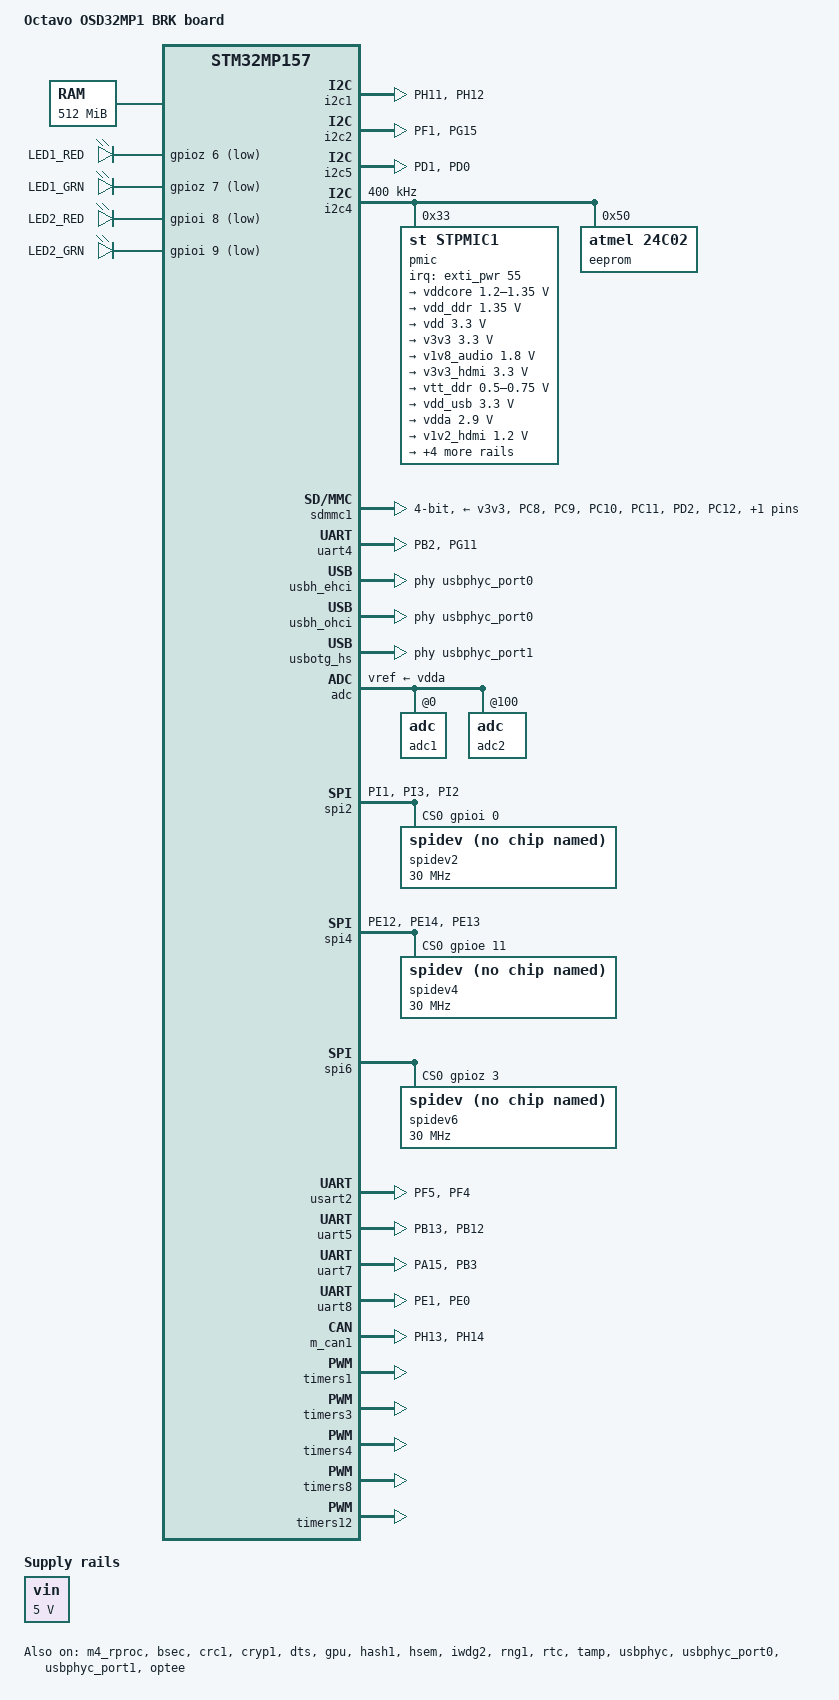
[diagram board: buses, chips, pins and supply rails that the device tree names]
/* SPDX-License-Identifier: (GPL-2.0+ OR BSD-3-Clause) */
/*
 * Copyright (C) Octavo Systems LLC 2020 - All Rights Reserved
 */

/* For more information on Device Tree configuration, please refer to
 * https://wiki.st.com/stm32mpu/wiki/Category:Device_tree_configuration
 */

/dts-v1/;
#include <dt-bindings/pinctrl/stm32-pinfunc.h>

#include "stm32mp157.dtsi"
#include "stm32mp15xc.dtsi"
#include "stm32mp15xxac-pinctrl.dtsi"
#include "stm32mp157-m4-srm.dtsi"
#include <dt-bindings/mfd/st,stpmic1.h>
#include <dt-bindings/rtc/rtc-stm32.h>

/ {
	model = "Octavo OSD32MP1 BRK board";
	compatible = "st,stm32mp157c-osd32mp1-brk", "st,stm32mp157";

	memory@c0000000 {
		device_type = "memory";
		reg = <0xc0000000 0x20000000>;
	};

	reserved-memory {
		#address-cells = <1>;
		#size-cells = <1>;
		ranges;

		mcuram2:mcuram2@10000000{
			compatible = "shared-dma-pool";
			reg = <0x10000000 0x40000>;
			no-map;
		};

		vdev0vring0:vdev0vring0@10040000{
			compatible = "shared-dma-pool";
			reg = <0x10040000 0x1000>;
			no-map;
		};

		vdev0vring1:vdev0vring1@10041000{
			compatible = "shared-dma-pool";
			reg = <0x10041000 0x1000>;
			no-map;
		};

		vdev0buffer:vdev0buffer@10042000{
			compatible = "shared-dma-pool";
			reg = <0x10042000 0x4000>;
			no-map;
		};

		mcuram:mcuram@30000000{
			compatible = "shared-dma-pool";
			reg = <0x30000000 0x40000>;
			no-map;
		};

		retram:retram@38000000{
			compatible = "shared-dma-pool";
			reg = <0x38000000 0x10000>;
			no-map;
		};

		gpu_reserved:gpu@da000000{
			reg = <0xda000000 0x4000000>;
			no-map;
		};

		optee_memory:optee@0xde000000{
			reg = <0xde000000 0x02000000>;
			no-map;
			status = "okay";
		};
	};

	led{
		compatible = "gpio-leds";

		red1{
			label = "LED1_RED";
			gpios = <&gpioz 6 GPIO_ACTIVE_LOW>;
			linux,default-trigger = "heartbeat";
			status = "okay";
			default-state = "off";
		};

		green1{
			label = "LED1_GRN";
			gpios = <&gpioz 7 GPIO_ACTIVE_LOW>;
			status = "okay";
			default-state = "on";
		};

		red2{
			label = "LED2_RED";
			gpios = <&gpioi 8 GPIO_ACTIVE_LOW>;
			status = "okay";
			default-state = "off";
		};

		green2{
			label = "LED2_GRN";
			gpios = <&gpioi 9 GPIO_ACTIVE_LOW>;
			default-state = "off";
		};
	};

	usb_phy_tuning:usb-phy-tuning{
		st,hs-dc-level = <2>;
		st,fs-rftime-tuning;
		st,hs-rftime-reduction;
		st,hs-current-trim = <15>;
		st,hs-impedance-trim = <1>;
		st,squelch-level = <3>;
		st,hs-rx-offset = <2>;
		st,no-lsfs-sc;
	};

	vin:vin{
		compatible = "regulator-fixed";
		regulator-name = "vin";
		regulator-min-microvolt = <5000000>;
		regulator-max-microvolt = <5000000>;
		regulator-always-on;
	};

	aliases{
		serial0 = &uart4;
		serial2 = &usart2;
		serial5 = &uart5;
		serial7 = &uart7;
		serial1 = &uart8;
	};

	chosen{
		stdout-path = "serial0:115200n8";
	};

	clocks {

#ifndef CONFIG_STM32MP1_TRUSTED
		clk_lsi: clk-lsi {
			clock-frequency = <32000>;
		};
		clk_hsi: clk-hsi {
			clock-frequency = <64000000>;
		};
		clk_csi: clk-csi {
			clock-frequency = <4000000>;
		};
		clk_lse: clk-lse {
			clock-frequency = <32768>;
		};
		clk_hse: clk-hse {
			clock-frequency = <24000000>;
		};
#endif	/*CONFIG_STM32MP1_TRUSTED*/
	};

}; /*root*/

&pinctrl {
	u-boot,dm-pre-reloc;

  i2c1_pins_mx: i2c1-0 {
		pins {
			pinmux = <STM32_PINMUX('H', 11, AF5)>, /* I2C1_SCL */
				 <STM32_PINMUX('H', 12, AF5)>; /* I2C1_SDA */
			bias-disable;
			drive-open-drain;
			slew-rate = <0>;
		};
	};

	i2c1_pins_sleep_mx: i2c1-1 {
		pins {
			pinmux = <STM32_PINMUX('H', 11, ANALOG)>, /* I2C1_SCL */
				 <STM32_PINMUX('H', 12, ANALOG)>; /* I2C1_SDA */
		};
	};

  i2c2_pins_mx: i2c2-0 {
    pins {
      pinmux = <STM32_PINMUX('F', 1, AF4)>, /* I2C2_SCL */
         <STM32_PINMUX('G', 15, AF4)>; /* I2C2_SDA */
      bias-disable;
      drive-open-drain;
      slew-rate = <0>;
    };
  };

  i2c2_pins_sleep_mx: i2c2-1 {
    pins {
      pinmux = <STM32_PINMUX('F', 1, ANALOG)>, /* I2C2_SCL */
         <STM32_PINMUX('G', 15, ANALOG)>; /* I2C2_SDA */
    };
  };

  i2c5_pins_mx: i2c5-0 {
    pins {
      pinmux = <STM32_PINMUX('D', 1, AF4)>, /* I2C5_SCL */
         <STM32_PINMUX('D', 0, AF4)>; /* I2C5_SDA */
      bias-disable;
      drive-open-drain;
      slew-rate = <0>;
    };
  };

  i2c5_pins_sleep_mx: i2c5-1 {
    pins {
      pinmux = <STM32_PINMUX('D', 1, ANALOG)>, /* I2C5_SCL */
         <STM32_PINMUX('D', 0, ANALOG)>; /* I2C5_SDA */
    };
  };

  spi2_pins_mx: spi2-0 {
    pins1 {
      pinmux = <STM32_PINMUX('I', 1, AF5)>, /* SPI2_SCK */
         <STM32_PINMUX('I', 3, AF5)>; /* SPI2_MOSI */
      bias-disable;
      drive-push-pull;
      slew-rate = <1>;
    };

    pins2 {
      pinmux = <STM32_PINMUX('I', 2, AF5)>; /* SPI2_MISO */
      bias-disable;
    };
  };

  spi2_sleep_pins_mx: spi2-sleep-0 {
    pins {
      pinmux = <STM32_PINMUX('I', 1, ANALOG)>, /* SPI2_SCK */
         <STM32_PINMUX('I', 2, ANALOG)>, /* SPI2_MISO */
         <STM32_PINMUX('I', 3, ANALOG)>; /* SPI2_MOSI */
    };
  };

  spi4_pins_mx: spi4-0 {
    pins1 {
      pinmux = <STM32_PINMUX('E', 12, AF5)>, /* SPI4_SCK */
         <STM32_PINMUX('E', 14, AF5)>; /* SPI4_MOSI */
      bias-disable;
      drive-push-pull;
      slew-rate = <1>;
    };

    pins2 {
      pinmux = <STM32_PINMUX('E', 13, AF5)>; /* SPI4_MISO */
      bias-disable;
    };
  };

  spi4_sleep_pins_mx: spi4-sleep-0 {
    pins {
      pinmux = <STM32_PINMUX('E', 12, ANALOG)>, /* SPI2_SCK */
         <STM32_PINMUX('E', 13, ANALOG)>, /* SPI2_MISO */
         <STM32_PINMUX('E', 14, ANALOG)>; /* SPI2_MOSI */
    };
  };

  usart2_pins_mx: usart2-0 {
      pins1 {
        pinmux = <STM32_PINMUX('F', 5, AF7)>; /* USART2_TX */
        bias-disable;
        drive-push-pull;
        slew-rate = <0>;
      };
      pins2 {
        pinmux = <STM32_PINMUX('F', 4, AF7)>; /* USART2_RX */
        bias-disable;
      };
    };

    usart2_idle_pins_mx: usart2-idle-0 {
      pins1 {
        pinmux = <STM32_PINMUX('F', 5, ANALOG)>; /* USART2_TX */
      };
      pins2 {
        pinmux = <STM32_PINMUX('F', 4, AF7)>; /* USART2_RX */
        bias-disable;
      };
    };

    usart2_sleep_pins_mx: usart2-sleep-0 {
      pins {
        pinmux = <STM32_PINMUX('F', 5, ANALOG)>, /* USART2_TX */
           <STM32_PINMUX('F', 4, ANALOG)>; /* USART2_RX */
      };
    };

    uart5_pins_mx: uart5-0 {
      pins1 {
        pinmux = <STM32_PINMUX('B', 13, AF14)>; /* USART5_TX */
        bias-disable;
        drive-push-pull;
        slew-rate = <0>;
      };
      pins2 {
        pinmux = <STM32_PINMUX('B', 12, AF14)>; /* USART5_RX */
        bias-disable;
      };
    };

    uart5_idle_pins_mx: uart5-idle-0 {
      pins1 {
        pinmux = <STM32_PINMUX('B', 13, ANALOG)>; /* USART5_TX */
      };
      pins2 {
        pinmux = <STM32_PINMUX('B', 12, AF14)>; /* USART5_RX */
        bias-disable;
      };
    };

    uart5_sleep_pins_mx: uart5-sleep-0 {
      pins {
        pinmux = <STM32_PINMUX('B', 13, ANALOG)>, /* USART5_TX */
           <STM32_PINMUX('B', 12, ANALOG)>; /* USART5_RX */
      };
    };

    uart7_pins_mx: uart7-0 {
      pins1 {
        pinmux = <STM32_PINMUX('A', 15, AF13)>; /* USART7_TX */
        bias-disable;
        drive-push-pull;
        slew-rate = <0>;
      };
      pins2 {
        pinmux = <STM32_PINMUX('B', 3, AF13)>; /* USART7_RX */
        bias-disable;
      };
    };

  uart7_idle_pins_mx: uart7-idle-0 {
    pins1 {
      pinmux = <STM32_PINMUX('A', 15, ANALOG)>; /* USART7_TX */
    };
    pins2 {
      pinmux = <STM32_PINMUX('B', 3, AF13)>; /* USART7_RX */
      bias-disable;
    };
  };

  uart7_sleep_pins_mx: uart7-sleep-0 {
    pins {
      pinmux = <STM32_PINMUX('A', 15, ANALOG)>, /* USART7_TX */
        <STM32_PINMUX('B', 3, ANALOG)>; /* USART7_RX */
    };
  };

  uart8_pins_mx: uart8-0 {
    pins1 {
      pinmux = <STM32_PINMUX('E', 1, AF8)>; /* USART8_TX */
      bias-disable;
      drive-push-pull;
      slew-rate = <0>;
    };
    pins2 {
      pinmux = <STM32_PINMUX('E', 0, AF8)>; /* USART8_RX */
      bias-disable;
    };
  };

  uart8_idle_pins_mx: uart8-idle-0 {
    pins1 {
      pinmux = <STM32_PINMUX('E', 1, ANALOG)>; /* USART8_TX */
    };
    pins2 {
      pinmux = <STM32_PINMUX('E', 0, AF8)>; /* USART8_RX */
      bias-disable;
    };
  };

  uart8_sleep_pins_mx: uart8-sleep-0 {
    pins {
      pinmux = <STM32_PINMUX('E', 1, ANALOG)>, /* USART8_TX */
        <STM32_PINMUX('E', 0, ANALOG)>; /* USART8_RX */
    };
  };

  m_can1_pins_mx: m-can1-0 {
    pins1 {
      pinmux = <STM32_PINMUX('H', 13, AF9)>; /* CAN1_TX */
      slew-rate = <0>;
      drive-push-pull;
      bias-disable;
    };
    pins2 {
      pinmux = <STM32_PINMUX('H', 14, AF9)>; /* CAN1_RX */
      bias-disable;
    };
  };

  m_can1_sleep_pins_mx: m_can1-sleep@0 {
    pins {
      pinmux = <STM32_PINMUX('H', 13, ANALOG)>, /* CAN1_TX */
        <STM32_PINMUX('H', 14, ANALOG)>; /* CAN1_RX */
    };
  };

  pwm1_pins_mx: pwm1-0 {
    pins {
      pinmux = <STM32_PINMUX('A', 9, AF1)>; /* TIM1_CH2 */
      bias-pull-down;
      drive-push-pull;
      slew-rate = <0>;
    };
  };

  pwm1_sleep_pins_mx: pwm1-sleep-0 {
    pins {
      pinmux = <STM32_PINMUX('A', 9, ANALOG)>; /* TIM1_CH1 */
    };
  };

  pwm3_pins_mx: pwm3-0 {
    pins {
      pinmux = <STM32_PINMUX('B', 5, AF2)>; /* TIM3_CH2 */
      bias-pull-down;
      drive-push-pull;
      slew-rate = <0>;
    };
  };

  pwm3_sleep_pins_mx: pwm3-sleep-0 {
    pins {
      pinmux = <STM32_PINMUX('B', 5, ANALOG)>; /* TIM3_CH2 */
    };
  };

  pwm4_pins_mx: pwm4-0 {
    pins {
      pinmux = <STM32_PINMUX('B', 7, AF2)>; /* TIM4_CH2 */
      bias-pull-down;
      drive-push-pull;
      slew-rate = <0>;
    };
  };

  pwm4_sleep_pins_mx: pwm4-sleep-0 {
    pins {
      pinmux = <STM32_PINMUX('B', 7, ANALOG)>; /* TIM4_CH2 */
    };
  };

  pwm8_pins_mx: pwm8-0 {
    pins {
      pinmux = <STM32_PINMUX('I', 6, AF3)>; /* TIM8_CH2 */
      bias-pull-down;
      drive-push-pull;
      slew-rate = <0>;
    };
  };

  pwm8_sleep_pins_mx: pwm8-sleep-0 {
    pins {
      pinmux = <STM32_PINMUX('I', 6, ANALOG)>; /* TIM8_CH2 */
    };
  };


  pwm12_pins_mx: pwm12-0 {
    pins {
      pinmux = <STM32_PINMUX('H', 9, AF2)>; /* TIM12_CH2 */
      bias-pull-down;
      drive-push-pull;
      slew-rate = <0>;
    };
  };

  pwm12_sleep_pins_mx: pwm12-sleep-0 {
    pins {
      pinmux = <STM32_PINMUX('H', 9, ANALOG)>; /* TIM12_CH2 */
    };
  };

	sdmmc1_pins_mx: sdmmc1_mx-0 {
		u-boot,dm-pre-reloc;
		pins1 {
			u-boot,dm-pre-reloc;
			pinmux = <STM32_PINMUX('C', 8, AF12)>, /* SDMMC1_D0 */
					 <STM32_PINMUX('C', 9, AF12)>, /* SDMMC1_D1 */
					 <STM32_PINMUX('C', 10, AF12)>, /* SDMMC1_D2 */
					 <STM32_PINMUX('C', 11, AF12)>, /* SDMMC1_D3 */
					 <STM32_PINMUX('D', 2, AF12)>; /* SDMMC1_CMD */
			bias-disable;
			drive-push-pull;
			slew-rate = <1>;
		};
		pins2 {
			u-boot,dm-pre-reloc;
			pinmux = <STM32_PINMUX('C', 12, AF12)>; /* SDMMC1_CK */
			bias-disable;
			drive-push-pull;
			slew-rate = <2>;
		};
	};

	sdmmc1_opendrain_pins_mx: sdmmc1_opendrain_mx-0 {
		u-boot,dm-pre-reloc;
		pins1 {
			u-boot,dm-pre-reloc;
			pinmux = <STM32_PINMUX('C', 8, AF12)>, /* SDMMC1_D0 */
					 <STM32_PINMUX('C', 9, AF12)>, /* SDMMC1_D1 */
					 <STM32_PINMUX('C', 10, AF12)>, /* SDMMC1_D2 */
					 <STM32_PINMUX('C', 11, AF12)>; /* SDMMC1_D3 */
			bias-disable;
			drive-push-pull;
			slew-rate = <1>;
		};
		pins2 {
			u-boot,dm-pre-reloc;
			pinmux = <STM32_PINMUX('C', 12, AF12)>; /* SDMMC1_CK */
			bias-disable;
			drive-push-pull;
			slew-rate = <2>;
		};
		pins3 {
			u-boot,dm-pre-reloc;
			pinmux = <STM32_PINMUX('D', 2, AF12)>; /* SDMMC1_CMD */
			bias-disable;
			drive-open-drain;
			slew-rate = <1>;
		};
	};

	sdmmc1_sleep_pins_mx: sdmmc1_sleep_mx-0 {
		u-boot,dm-pre-reloc;
		pins {
			u-boot,dm-pre-reloc;
			pinmux = <STM32_PINMUX('C', 8, ANALOG)>, /* SDMMC1_D0 */
					 <STM32_PINMUX('C', 9, ANALOG)>, /* SDMMC1_D1 */
					 <STM32_PINMUX('C', 10, ANALOG)>, /* SDMMC1_D2 */
					 <STM32_PINMUX('C', 11, ANALOG)>, /* SDMMC1_D3 */
					 <STM32_PINMUX('C', 12, ANALOG)>, /* SDMMC1_CK */
					 <STM32_PINMUX('D', 2, ANALOG)>; /* SDMMC1_CMD */
		};
	};

	uart4_pins_mx: uart4_mx-0 {
		u-boot,dm-pre-reloc;
		pins1 {
			u-boot,dm-pre-reloc;
			pinmux = <STM32_PINMUX('B', 2, AF8)>; /* UART4_RX */
      /* pull-up on rx to avoid floating level */
      bias-pull-up;
		};
		pins2 {
			u-boot,dm-pre-reloc;
			pinmux = <STM32_PINMUX('G', 11, AF6)>; /* UART4_TX */
			bias-disable;
			drive-push-pull;
			slew-rate = <0>;
		};
	};

	uart4_sleep_pins_mx: uart4_sleep_mx-0 {
		u-boot,dm-pre-reloc;
		pins {
			u-boot,dm-pre-reloc;
			pinmux = <STM32_PINMUX('B', 2, ANALOG)>, /* UART4_RX */
					 <STM32_PINMUX('G', 11, ANALOG)>; /* UART4_TX */
		};
	};
};

&pinctrl_z {
	u-boot,dm-pre-reloc;

	i2c4_pins_z_mx: i2c4_mx-0 {
		u-boot,dm-pre-reloc;
		pins {
			u-boot,dm-pre-reloc;
			pinmux = <STM32_PINMUX('Z', 4, AF6)>, /* I2C4_SCL */
					 <STM32_PINMUX('Z', 5, AF6)>; /* I2C4_SDA */
			bias-disable;
			drive-open-drain;
			slew-rate = <0>;
		};
	};

	i2c4_sleep_pins_z_mx: i2c4_sleep_mx-0 {
		u-boot,dm-pre-reloc;
		pins {
			u-boot,dm-pre-reloc;
			pinmux = <STM32_PINMUX('Z', 4, ANALOG)>, /* I2C4_SCL */
					 <STM32_PINMUX('Z', 5, ANALOG)>; /* I2C4_SDA */
		};
	};

  spi6_pins_mx: spi6-0 {
    pins1 {
      pinmux = <STM32_PINMUX('Z', 0, AF8)>, /* SPI6_SCK */
         <STM32_PINMUX('Z', 2, AF8)>; /* SPI6_MOSI */
      bias-disable;
      drive-push-pull;
      slew-rate = <1>;
    };

    pins2 {
      pinmux = <STM32_PINMUX('Z', 1, AF8)>; /* SPI6_MISO */
      bias-disable;
    };
  };

  spi6_sleep_pins_mx: spi6-sleep-0 {
    pins {
      pinmux = <STM32_PINMUX('Z', 0, ANALOG)>, /* SPI6_SCK */
         <STM32_PINMUX('Z', 1, ANALOG)>, /* SPI6_MISO */
         <STM32_PINMUX('Z', 2, ANALOG)>; /* SPI6_MOSI */
    };
  };
};

&m4_rproc{
	/*Restriction: "memory-region" property is not managed - please to use User-Section if needed*/
	mboxes = <&ipcc 0>, <&ipcc 1>, <&ipcc 2>;
	mbox-names = "vq0", "vq1", "shutdown";
	status = "okay";
	memory-region = <&retram>, <&mcuram>, <&mcuram2>, <&vdev0vring0>,
			<&vdev0vring1>, <&vdev0buffer>;
	interrupt-parent = <&exti>;
	interrupts = <68 1>;
	wakeup-source;
};

&pwr_regulators {
	vdd-supply = <&vdd>;
	vdd_3v3_usbfs-supply = <&vdd_usb>;
};

&bsec{
	status = "okay";
};

&crc1{
	status = "okay";
};

&cryp1{
	u-boot,dm-pre-reloc;
	status = "okay";
};

&dma1{
	status = "okay";
	sram = <&dma_pool>;
};

&dma2{
	status = "okay";
	sram = <&dma_pool>;
};

&dmamux1{

	dma-masters = <&dma1 &dma2>;
	dma-channels = <16>;

	status = "okay";
};

&dts{
	status = "okay";
};

&gpu{
	status = "okay";
	contiguous-area = <&gpu_reserved>;
};

&hash1{
	u-boot,dm-pre-reloc;
	status = "okay";
};

&hsem{
	status = "okay";
};

&i2c1 {
	pinctrl-names = "default", "sleep";
	pinctrl-0 = <&i2c1_pins_mx>;
	pinctrl-1 = <&i2c1_pins_sleep_mx>;
	i2c-scl-rising-time-ns = <100>;
	i2c-scl-falling-time-ns = <7>;
	status = "okay";
	/delete-property/dmas;
	/delete-property/dma-names;
};

&i2c2 {
	pinctrl-names = "default", "sleep";
	pinctrl-0 = <&i2c2_pins_mx>;
	pinctrl-1 = <&i2c2_pins_sleep_mx>;
	i2c-scl-rising-time-ns = <100>;
	i2c-scl-falling-time-ns = <7>;
	status = "okay";
	/delete-property/dmas;
	/delete-property/dma-names;
};

&i2c5 {
	pinctrl-names = "default", "sleep";
	pinctrl-0 = <&i2c5_pins_mx>;
	pinctrl-1 = <&i2c5_pins_sleep_mx>;
	i2c-scl-rising-time-ns = <100>;
	i2c-scl-falling-time-ns = <7>;
	status = "okay";
	/delete-property/dmas;
	/delete-property/dma-names;
};

&i2c4{
	u-boot,dm-pre-reloc;
	pinctrl-names = "default", "sleep";
	pinctrl-0 = <&i2c4_pins_z_mx>;
	pinctrl-1 = <&i2c4_sleep_pins_z_mx>;
	status = "okay";

	i2c-scl-rising-time-ns = <185>;
	i2c-scl-falling-time-ns = <20>;
	clock-frequency = <400000>;
	/delete-property/ dmas;
	/delete-property/ dma-names;

	pmic:stpmic@33{
		compatible = "st,stpmic1";
		reg = <0x33>;
		interrupts-extended = <&exti_pwr 55 IRQ_TYPE_EDGE_FALLING>;
		interrupt-controller;
		#interrupt-cells = <2>;
		status = "okay";

		regulators{
			compatible = "st,stpmic1-regulators";
			buck1-supply = <&vin>;
			buck2-supply = <&vin>;
			buck3-supply = <&vin>;
			buck4-supply = <&vin>;
			ldo1-supply = <&v3v3>;
			ldo2-supply = <&vin>;
			ldo3-supply = <&vdd_ddr>;
			ldo4-supply = <&vin>;
			ldo5-supply = <&vin>;
			ldo6-supply = <&v3v3>;
			vref_ddr-supply = <&vin>;
			boost-supply = <&vin>;
			pwr_sw1-supply = <&bst_out>;
			pwr_sw2-supply = <&bst_out>;

			vddcore:buck1{
				regulator-name = "vddcore";
				regulator-min-microvolt = <1200000>;
				regulator-max-microvolt = <1350000>;
				regulator-always-on;
				regulator-initial-mode = <0>;
				regulator-over-current-protection;
			};

			vdd_ddr:buck2{
				regulator-name = "vdd_ddr";
				regulator-min-microvolt = <1350000>;
				regulator-max-microvolt = <1350000>;
				regulator-always-on;
				regulator-initial-mode = <0>;
				regulator-over-current-protection;
			};

			vdd:buck3{
				regulator-name = "vdd";
				regulator-min-microvolt = <3300000>;
				regulator-max-microvolt = <3300000>;
				regulator-always-on;
				st,mask-reset;
				regulator-initial-mode = <0>;
				regulator-over-current-protection;
			};

			v3v3:buck4{
				regulator-name = "v3v3";
				regulator-min-microvolt = <3300000>;
				regulator-max-microvolt = <3300000>;
				regulator-always-on;
				regulator-over-current-protection;
				regulator-initial-mode = <0>;
			};

			v1v8_audio:ldo1{
				regulator-name = "v1v8_audio";
				regulator-min-microvolt = <1800000>;
				regulator-max-microvolt = <1800000>;
				regulator-always-on;
				interrupts = <IT_CURLIM_LDO1 0>;
			};

			v3v3_hdmi:ldo2{
				regulator-name = "v3v3_hdmi";
				regulator-min-microvolt = <3300000>;
				regulator-max-microvolt = <3300000>;
				regulator-always-on;
				interrupts = <IT_CURLIM_LDO2 0>;
			};

			vtt_ddr:ldo3{
				regulator-name = "vtt_ddr";
				regulator-min-microvolt = <500000>;
				regulator-max-microvolt = <750000>;
				regulator-always-on;
				regulator-over-current-protection;
			};

			vdd_usb:ldo4{
				regulator-name = "vdd_usb";
				regulator-min-microvolt = <3300000>;
				regulator-max-microvolt = <3300000>;
				interrupts = <IT_CURLIM_LDO4 0>;
				regulator-always-on;
			};

			vdda:ldo5{
				regulator-name = "vdda";
				regulator-min-microvolt = <2900000>;
				regulator-max-microvolt = <2900000>;
				interrupts = <IT_CURLIM_LDO5 0>;
				regulator-boot-on;
			};

			v1v2_hdmi:ldo6{
				regulator-name = "v1v2_hdmi";
				regulator-min-microvolt = <1200000>;
				regulator-max-microvolt = <1200000>;
				regulator-always-on;
				interrupts = <IT_CURLIM_LDO6 0>;
			};

			vref_ddr:vref_ddr{
				regulator-name = "vref_ddr";
				regulator-always-on;
				regulator-over-current-protection;
			};

			bst_out:boost{
				regulator-name = "bst_out";
				interrupts = <IT_OCP_BOOST 0>;
			};

			vbus_otg:pwr_sw1{
				regulator-name = "vbus_otg";
				interrupts = <IT_OCP_OTG 0>;
			};

			vbus_sw:pwr_sw2{
				regulator-name = "vbus_sw";
				interrupts = <IT_OCP_SWOUT 0>;
				regulator-active-discharge = <1>;
			};
		};

		onkey{
			compatible = "st,stpmic1-onkey";
			interrupts = <IT_PONKEY_F 0>, <IT_PONKEY_R 0>;
			interrupt-names = "onkey-falling", "onkey-rising";
			power-off-time-sec = <10>;
			status = "okay";
		};

		watchdog {
			compatible = "st,stpmic1-wdt";
			status = "disabled";
		};
	};
	eeprom@50 {
		compatible = "atmel,24c02";
		reg = <0x50>;
		pagesize = <16>;
	};
};

&ipcc{
	status = "okay";
};

&iwdg2{
	status = "okay";
	timeout-sec = <32>;
};

&mdma1{
	status = "okay";
};

&rcc{
	u-boot,dm-pre-reloc;
	status = "okay";
};

&rng1{
	status = "okay";
};

&rtc{
	status = "okay";
};

&sdmmc1{
	u-boot,dm-pre-reloc;
	pinctrl-names = "default", "opendrain", "sleep";
	pinctrl-0 = <&sdmmc1_pins_mx>;
	pinctrl-1 = <&sdmmc1_opendrain_pins_mx>;
	pinctrl-2 = <&sdmmc1_sleep_pins_mx>;
	status = "okay";

	cd-gpios = <&gpiog 7 (GPIO_ACTIVE_LOW | GPIO_PULL_UP)>;
	disable-wp;
	st,neg-edge;
	bus-width = <4>;
	vmmc-supply = <&v3v3>;
};

&tamp{
	status = "okay";
};

&uart4{
	u-boot,dm-pre-reloc;
	pinctrl-names = "default", "sleep";
	pinctrl-0 = <&uart4_pins_mx>;
	pinctrl-1 = <&uart4_sleep_pins_mx>;
	status = "okay";

	/delete-property/ dmas;
	/delete-property/ dma-names;
};

&usbh_ehci{
	status = "okay";
	phys = <&usbphyc_port0>;
};

&usbh_ohci{
	status = "okay";
};

&usbotg_hs{
	u-boot,dm-pre-reloc;
	status = "okay";
	phys = <&usbphyc_port1 0>;
	phy-names = "usb2-phy";
};

&usbphyc{
	u-boot,dm-pre-reloc;
	status = "okay";
};

&usbphyc_port0{
	u-boot,dm-pre-reloc;
	status = "okay";
	phy-supply = <&vdd_usb>;
	st,phy-tuning = <&usb_phy_tuning>;
};

&usbphyc_port1{
	u-boot,dm-pre-reloc;
	status = "okay";
	phy-supply = <&vdd_usb>;
	st,phy-tuning = <&usb_phy_tuning>;
};

&adc {
  vdd-supply = <&vdd>;
  vdda-supply = <&vdda>;
  vref-supply = <&vdda>;
	status = "okay";
  adc1: adc@0 {
    st,min-sample-time-nsecs = <5000>;
    st,adc-channels = <0 1>;
    status = "okay";
  };

  adc2: adc@100 {
    status = "okay";
  };

  adc_temp: temp {
    status = "okay";
  };
};

&usbh_ohci{
	phys = <&usbphyc_port0>;
};

&cpu0{
	cpu-supply = <&vddcore>;
};

&cpu1{
	cpu-supply = <&vddcore>;
};

&sram{
	dma_pool:dma_pool@0{
		reg = <0x50000 0x10000>;
		pool;
	};
};

&optee{
	status = "okay";
};

&spi2 {
	pinctrl-names = "default", "sleep";
	pinctrl-0 = <&spi2_pins_mx>;
	pinctrl-1 = <&spi2_sleep_pins_mx>;
  cs-gpios = <&gpioi 0 0>;
	status = "okay";

  spidev2: spidev2@0{
    compatible = "rohm,dh2228fv";
    spi-max-frequency = <30000000>;
    reg = <0>;
  };
};

&spi4 {
	pinctrl-names = "default", "sleep";
	pinctrl-0 = <&spi4_pins_mx>;
	pinctrl-1 = <&spi4_sleep_pins_mx>;
  cs-gpios = <&gpioe 11 0>;
	status = "okay";

  spidev4: spidev4@0{
    compatible = "rohm,dh2228fv";
    spi-max-frequency = <30000000>;
    reg = <0>;
  };
};

&spi6 {
	pinctrl-names = "default", "sleep";
	pinctrl-0 = <&spi6_pins_mx>;
	pinctrl-1 = <&spi6_sleep_pins_mx>;
  cs-gpios = <&gpioz 3 0>;
	status = "okay";

  spidev6: spidev6@0{
    compatible = "rohm,dh2228fv";
    spi-max-frequency = <30000000>;
    reg = <0>;
  };
};

&usart2 {
	pinctrl-names = "default", "sleep", "idle";
	pinctrl-0 = <&usart2_pins_mx>;
	pinctrl-1 = <&usart2_sleep_pins_mx>;
	pinctrl-2 = <&usart2_idle_pins_mx>;
	status = "okay";
};

&uart5 {
	pinctrl-names = "default", "sleep", "idle";
	pinctrl-0 = <&uart5_pins_mx>;
	pinctrl-1 = <&uart5_sleep_pins_mx>;
	pinctrl-2 = <&uart5_idle_pins_mx>;
	status = "okay";
};

&uart7 {
	pinctrl-names = "default", "sleep", "idle";
	pinctrl-0 = <&uart7_pins_mx>;
	pinctrl-1 = <&uart7_sleep_pins_mx>;
	pinctrl-2 = <&uart7_idle_pins_mx>;
	status = "okay";
};

&uart8 {
	pinctrl-names = "default", "sleep", "idle";
	pinctrl-0 = <&uart8_pins_mx>;
	pinctrl-1 = <&uart8_sleep_pins_mx>;
	pinctrl-2 = <&uart8_idle_pins_mx>;
	status = "okay";
};

&m_can1 {
	pinctrl-names = "default";
	pinctrl-0 = <&m_can1_pins_mx>;
	status = "okay";
  can-transceiver {
    max-bitrate = <5000000>;
  };
};

&timers1 {
	status = "okay";
	/* spare dmas for other usage */
	/delete-property/dmas;
	/delete-property/dma-names;
	pwm1: pwm {
    pinctrl-names = "default", "sleep";
	  pinctrl-0 = <&pwm1_pins_mx>;
	  pinctrl-1 = <&pwm1_sleep_pins_mx>;
		status = "okay";
	};
};

&timers3 {
	status = "okay";
	/* spare dmas for other usage */
	/delete-property/dmas;
	/delete-property/dma-names;
	pwm3: pwm {
    pinctrl-names = "default", "sleep";
	  pinctrl-0 = <&pwm3_pins_mx>;
	  pinctrl-1 = <&pwm3_sleep_pins_mx>;
		status = "okay";
	};
};

&timers4 {
	status = "okay";
	/* spare dmas for other usage */
	/delete-property/dmas;
	/delete-property/dma-names;
	pwm4: pwm {
    pinctrl-names = "default", "sleep";
	  pinctrl-0 = <&pwm4_pins_mx>;
	  pinctrl-1 = <&pwm4_sleep_pins_mx>;
		status = "okay";
	};
};

&timers8 {
	status = "okay";
	/* spare dmas for other usage */
	/delete-property/dmas;
	/delete-property/dma-names;
	pwm8: pwm {
    pinctrl-names = "default", "sleep";
	  pinctrl-0 = <&pwm8_pins_mx>;
	  pinctrl-1 = <&pwm8_sleep_pins_mx>;
		status = "okay";
	};
};

&timers12 {
	status = "okay";
	/* spare dmas for other usage */
	/delete-property/dmas;
	/delete-property/dma-names;
	pwm12: pwm {
    pinctrl-names = "default", "sleep";
	  pinctrl-0 = <&pwm12_pins_mx>;
	  pinctrl-1 = <&pwm12_sleep_pins_mx>;
		status = "okay";
	};
};
